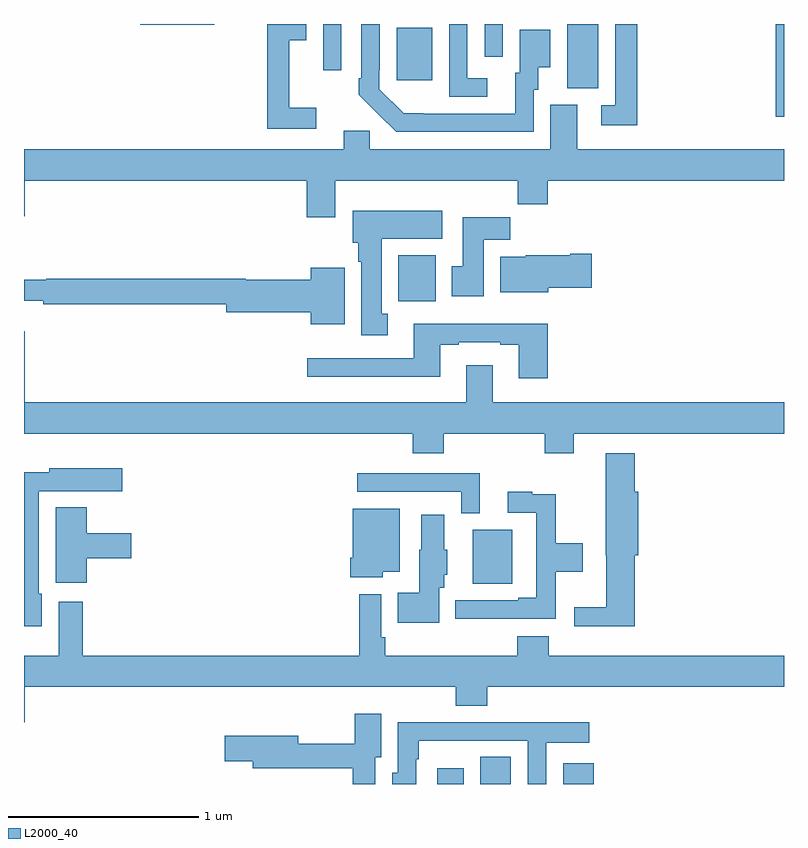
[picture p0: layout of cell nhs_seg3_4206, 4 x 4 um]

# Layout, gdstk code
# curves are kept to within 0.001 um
import gdstk
lib = gdstk.Library(unit=1e-6, precision=1e-09)
def R(c, l, rs):  # rectangles x0, y0, x1, y1
    for r in rs: c.add(gdstk.rectangle(r[:2], r[2:], *l))
def P(c, l, *ps):  # polygons
    for p in ps: c.add(gdstk.Polygon(p, *l))
L2000_40 = (2000, 40)

nhs_seg3_4206 = lib.new_cell('nhs_seg3_4206')
R(nhs_seg3_4206, L2000_40, [(335.174,704.4,335.314,704.482), (335.402,704.4,335.563,704.543), (335.837,704.4,335.998,704.509), (335.363,705.455,335.569,705.739), (334.97,706.94,335.167,707.182), (336.956,707.912,337,708.4), (335.858,708.061,336.022,708.4), (334.961,708.105,335.149,708.379), (334.575,708.156,334.671,708.4), (335.424,708.228,335.52,708.4), (333.612,708.395,334,708.4)])
P(nhs_seg3_4206, L2000_40, [(334.537,707.959),(334.397,707.959),(334.397,708.314),(334.486,708.314),(334.486,708.4),(334.279,708.4),(334.279,707.85),(334.537,707.85)],
  [(335.437,708.114),(335.334,708.114),(335.334,708.4),(335.238,708.4),(335.238,708.018),(335.437,708.018)],
  [(336.227,708.4),(336.111,708.4),(336.111,707.973),(336.039,707.973),(336.039,707.868),(336.227,707.868)],
  [(335.682,708.054),(335.707,708.054),(335.707,708.173),(335.77,708.173),(335.77,708.37),(335.609,708.37),(335.609,708.144),(335.585,708.144),(335.585,707.928),(334.998,707.929),(334.869,708.057),(334.869,708.157),(334.872,708.157),(334.872,708.4),(334.776,708.4),(334.776,708.115),(334.761,708.115),(334.761,708.027),(334.958,707.832),(335.682,707.832)],
  [(334.639,707.576),(335.599,707.576),(335.599,707.452),(335.756,707.452),(335.756,707.576),(337,707.576),(337,707.74),(335.911,707.74),(335.911,707.976),(335.771,707.976),(335.771,707.74),(334.821,707.74),(334.821,707.838),(334.682,707.838),(334.682,707.74),(333,707.74),(333,707.388),(333.004,707.388),(333.004,707.576),(334.487,707.576),(334.487,707.382),(334.639,707.382)],
  [(334.915,706.874),(334.882,706.874),(334.882,707.27),(335.2,707.27),(335.2,707.416),(334.73,707.416),(334.73,707.25),(334.76,707.25),(334.76,707.15),(334.775,707.15),(334.775,706.761),(334.915,706.761)],
  [(335.419,707.264),(335.558,707.264),(335.558,707.383),(335.309,707.383),(335.309,707.124),(335.252,707.124),(335.252,706.968),(335.419,706.968)],
  [(335.758,707.012),(335.989,707.012),(335.989,707.19),(335.876,707.19),(335.876,707.182),(335.64,707.182),(335.64,707.176),(335.507,707.176),(335.507,706.988),(335.758,706.988)],
  [(334.687,707.116),(334.508,707.116),(334.508,707.054),(334.168,707.054),(334.168,707.06),(333.118,707.06),(333.118,707.053),(333,707.053),(333,706.943),(333.1,706.943),(333.1,706.924),(334.064,706.924),(334.064,706.882),(334.508,706.882),(334.508,706.82),(334.687,706.82)],
  [(335.756,706.822),(335.051,706.822),(335.051,706.641),(334.491,706.641),(334.491,706.544),(335.191,706.544),(335.191,706.713),(335.287,706.713),(335.287,706.725),(335.507,706.725),(335.507,706.713),(335.603,706.713),(335.603,706.536),(335.756,706.536)],
  [(335.467,706.603),(335.327,706.603),(335.327,706.408),(333.004,706.408),(333.004,706.783),(333,706.783),(333,706.244),(335.045,706.244),(335.045,706.142),(335.21,706.142),(335.21,706.244),(335.741,706.244),(335.741,706.142),(335.893,706.142),(335.893,706.244),(337,706.244),(337,706.408),(335.467,706.408)],
  [(336.215,705.603),(336.233,705.603),(336.233,705.939),(336.215,705.939),(336.215,706.141),(336.062,706.141),(336.062,705.603),(336.065,705.603),(336.065,705.329),(335.895,705.329),(335.895,705.23),(336.215,705.23)],
  [(333.094,705.402),(333.078,705.402),(333.078,705.942),(333.29,705.942),(333.29,705.941),(333.517,705.941),(333.517,706.063),(333.132,706.063),(333.132,706.04),(333,706.04),(333,705.23),(333.094,705.23)],
  [(335.398,706.035),(334.755,706.035),(334.755,705.939),(335.301,705.939),(335.301,705.824),(335.398,705.824)],
  [(335.513,705.27),(335.798,705.27),(335.798,705.518),(335.941,705.518),(335.941,705.666),(335.798,705.666),(335.798,705.926),(335.675,705.926),(335.675,705.937),(335.547,705.937),(335.547,705.828),(335.697,705.828),(335.697,705.379),(335.6,705.379),(335.6,705.366),(335.271,705.366),(335.271,705.269),(335.513,705.269)],
  [(333.329,705.587),(333.565,705.587),(333.565,705.721),(333.329,705.721),(333.329,705.856),(333.167,705.856),(333.167,705.459),(333.329,705.459)],
  [(334.888,705.518),(334.978,705.518),(334.978,705.85),(334.73,705.85),(334.73,705.592),(334.718,705.592),(334.718,705.488),(334.888,705.488)],
  [(335.185,705.432),(335.212,705.432),(335.212,705.501),(335.227,705.501),(335.227,705.633),(335.212,705.633),(335.212,705.817),(335.09,705.817),(335.09,705.633),(335.081,705.633),(335.081,705.406),(334.966,705.406),(334.966,705.248),(335.185,705.248)],
  [(333.004,704.912),(335.273,704.912),(335.273,704.813),(335.438,704.813),(335.438,704.912),(337,704.912),(337,705.076),(335.762,705.076),(335.762,705.178),(335.597,705.178),(335.597,705.076),(334.901,705.076),(334.901,705.172),(334.881,705.172),(334.881,705.4),(334.765,705.4),(334.765,705.076),(333.308,705.076),(333.308,705.358),(333.182,705.358),(333.182,705.076),(333,705.076),(333,704.724),(333.004,704.724)],
  [(334.849,704.541),(334.879,704.541),(334.879,704.77),(334.741,704.77),(334.741,704.611),(334.444,704.611),(334.444,704.653),(334.056,704.653),(334.056,704.519),(334.205,704.519),(334.205,704.482),(334.731,704.482),(334.731,704.4),(334.849,704.4)],
  [(335.064,704.531),(335.077,704.531),(335.077,704.627),(335.306,704.627),(335.306,704.628),(335.652,704.628),(335.652,704.4),(335.748,704.4),(335.748,704.618),(335.974,704.618),(335.974,704.726),(335.555,704.726),(335.555,704.724),(335.189,704.724),(335.189,704.726),(334.968,704.726),(334.968,704.46),(334.937,704.46),(334.937,704.4),(335.064,704.4)])

lib.write_gds('nhs_seg3_4206.gds')
